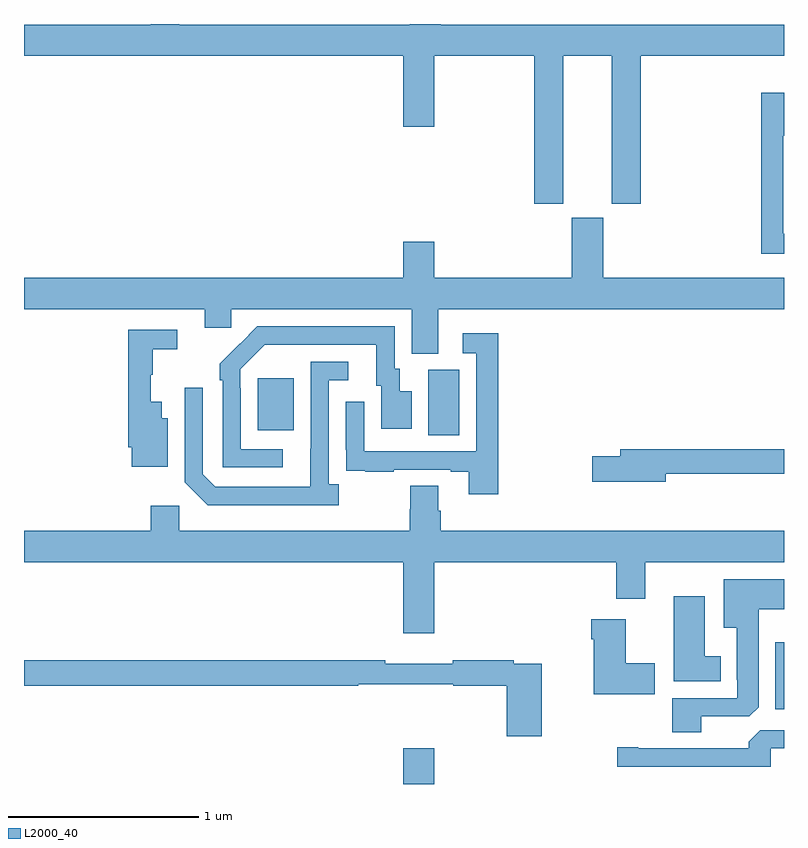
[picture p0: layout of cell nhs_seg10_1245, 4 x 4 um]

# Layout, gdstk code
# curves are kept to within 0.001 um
import gdstk
lib = gdstk.Library(unit=1e-6, precision=1e-09)
def R(c, l, rs):  # rectangles x0, y0, x1, y1
    for r in rs: c.add(gdstk.rectangle(r[:2], r[2:], *l))
def P(c, l, *ps):  # polygons
    for p in ps: c.add(gdstk.Polygon(p, *l))
L2000_40 = (2000, 40)

nhs_seg10_1245 = lib.new_cell('nhs_seg10_1245')
R(nhs_seg10_1245, L2000_40, [(176.996,1280.5,177.16,1280.689), (178.955,1280.894,179,1281.247), (177.128,1282.336,177.292,1282.68), (176.231,1282.361,176.419,1282.636)])
P(nhs_seg10_1245, L2000_40, [(177.838,1284.332),(178.094,1284.332),(178.094,1283.553),(178.247,1283.553),(178.247,1284.332),(179,1284.332),(179,1284.496),(177.194,1284.496),(177.194,1284.5),(177.029,1284.5),(177.029,1284.496),(175.818,1284.496),(175.818,1284.5),(175.667,1284.5),(175.667,1284.496),(175,1284.496),(175,1284.332),(176.996,1284.332),(176.996,1283.958),(177.16,1283.958),(177.16,1284.332),(177.686,1284.332),(177.686,1283.553),(177.838,1283.553)],
  [(179,1283.397),(178.995,1283.397),(178.995,1283.913),(179,1283.913),(179,1284.139),(178.879,1284.139),(178.879,1283.292),(179,1283.292)],
  [(177.181,1283),(179,1283),(179,1283.164),(178.048,1283.164),(178.048,1283.481),(177.884,1283.481),(177.884,1283.164),(177.16,1283.164),(177.16,1283.353),(176.996,1283.353),(176.996,1283.164),(175,1283.164),(175,1283),(175.952,1283),(175.952,1282.902),(176.091,1282.902),(176.091,1283),(177.041,1283),(177.041,1282.765),(177.181,1282.765)],
  [(176.362,1282.263),(176.142,1282.263),(176.142,1282.583),(176.139,1282.583),(176.139,1282.683),(176.268,1282.812),(176.855,1282.812),(176.855,1282.596),(176.879,1282.596),(176.879,1282.371),(177.04,1282.371),(177.04,1282.567),(176.977,1282.567),(176.977,1282.686),(176.952,1282.686),(176.952,1282.908),(176.228,1282.908),(176.031,1282.713),(176.031,1282.625),(176.046,1282.625),(176.046,1282.167),(176.362,1282.167)],
  [(175.756,1282.426),(175.726,1282.426),(175.726,1282.513),(175.667,1282.513),(175.667,1282.653),(175.678,1282.653),(175.678,1282.789),(175.807,1282.789),(175.807,1282.89),(175.549,1282.89),(175.549,1282.273),(175.568,1282.273),(175.568,1282.169),(175.756,1282.169)],
  [(177.497,1282.873),(177.309,1282.873),(177.309,1282.767),(177.381,1282.767),(177.381,1282.251),(176.79,1282.251),(176.79,1282.513),(176.694,1282.513),(176.694,1282.258),(176.695,1282.258),(176.695,1282.149),(176.797,1282.149),(176.797,1282.143),(176.945,1282.143),(176.945,1282.155),(177.245,1282.155),(177.245,1282.143),(177.341,1282.143),(177.341,1282.026),(177.497,1282.026)],
  [(176.656,1282.078),(176.604,1282.078),(176.604,1282.626),(176.707,1282.626),(176.707,1282.722),(176.508,1282.722),(176.507,1282.065),(176.007,1282.065),(175.941,1282.131),(175.941,1282.585),(175.845,1282.585),(175.845,1282.089),(175.966,1281.968),(176.656,1281.968)],
  [(178.378,1282.134),(179,1282.134),(179,1282.262),(178.139,1282.262),(178.139,1282.226),(177.99,1282.226),(177.99,1282.091),(178.378,1282.091)],
  [(177.16,1281.668),(178.118,1281.668),(178.118,1281.474),(178.27,1281.474),(178.27,1281.668),(179,1281.668),(179,1281.832),(177.194,1281.832),(177.194,1281.938),(177.181,1281.938),(177.181,1282.07),(177.034,1282.07),(177.034,1281.945),(177.029,1281.945),(177.029,1281.832),(175.818,1281.832),(175.818,1281.964),(175.667,1281.964),(175.667,1281.832),(175,1281.832),(175,1281.668),(176.996,1281.668),(176.996,1281.294),(177.16,1281.294)],
  [(178.564,1280.856),(178.818,1280.856),(178.867,1280.905),(178.867,1281.419),(179,1281.419),(179,1281.577),(178.682,1281.577),(178.682,1281.323),(178.751,1281.323),(178.751,1281.049),(178.755,1281.049),(178.755,1280.952),(178.412,1280.952),(178.412,1280.773),(178.564,1280.773)],
  [(178.666,1281.172),(178.582,1281.172),(178.582,1281.487),(178.421,1281.487),(178.421,1281.041),(178.666,1281.041)],
  [(178.321,1281.135),(178.168,1281.135),(178.168,1281.367),(177.986,1281.367),(177.986,1281.263),(177.998,1281.263),(177.998,1280.972),(178.321,1280.972)],
  [(177.725,1281.132),(177.578,1281.132),(177.578,1281.152),(177.256,1281.152),(177.256,1281.133),(176.9,1281.133),(176.9,1281.152),(175,1281.152),(175,1281.016),(176.758,1281.016),(176.758,1281.024),(177.258,1281.024),(177.258,1281.016),(177.542,1281.016),(177.542,1280.751),(177.725,1280.751)],
  [(178.929,1280.688),(179,1280.688),(179,1280.784),(178.875,1280.784),(178.814,1280.722),(178.814,1280.688),(178.234,1280.688),(178.234,1280.693),(178.122,1280.693),(178.122,1280.592),(178.929,1280.592)])

lib.write_gds('nhs_seg10_1245.gds')
